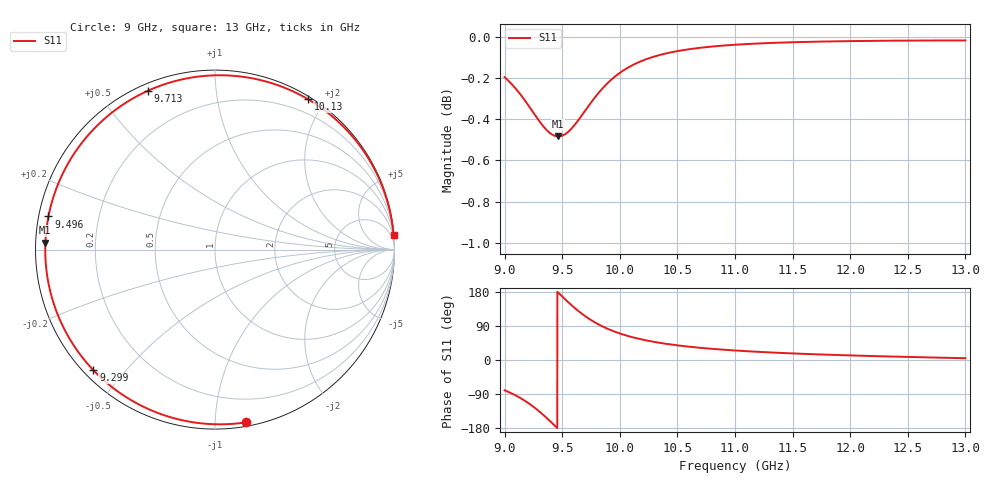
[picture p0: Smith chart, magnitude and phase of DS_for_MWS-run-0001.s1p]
! TOUCHSTONE file generated by CST DESIGN STUDIO
! Date and time: Tue Feb  4 16:01:33 2025
! Project name: C:\Work\MatlabApps\UnitCellOptimizationMatlab\CST\unitcell.cst
! Tree item: Tasks\Sweep1\SPara1\S-Parameters
! Header version: 2024
! Port assignment regex: !\s*Touchstone port\s*([0-9]+)\s*=\s*(CST MWS port|CST DES external port|CST DES block port)\s*(.+)\s* \(\"(.*)\"\)(\s*mode\s*([0-9]+))?.*
! Touchstone port assignment:
! Touchstone port 1 = CST DES external port 1 ("")
# GHz S MA R 50
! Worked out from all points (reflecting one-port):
!   4001 points, 9 GHz to 13 GHz, reference 50 ohm
!   lowest |S11| = -0.5 dB at 9.466 GHz (marker M1), VSWR 35.96, Z = 1.39 + j1.04 ohm
!   phase of S11 starts at -80 deg and turns -275 deg over the sweep
!   S11 on the Smith chart (normalised r, x): 9 GHz: 0.03, -1.19; 9.299 GHz: 0.03, -0.41; 9.496 GHz: 0.03, +0.10; 9.713 GHz: 0.03, +0.66; 10.13 GHz: 0.03, +1.79; 13 GHz: 1, +24
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9  0.9778 -79.9
9.072  0.9732 -89.8
9.168  0.9658 -106.0
9.236  0.9598 -120.1
9.299  0.9542 -135.2
9.343  0.9507 -146.8
9.389  0.9479 -159.7
9.428  0.9464 -171.1
9.466  0.9459 177.6
9.496  0.9462 168.7
9.5  0.9463 167.6
9.551  0.9482 152.8
9.609  0.9521 137.1
9.66  0.9562 124.6
9.713  0.9608 112.8
9.77  0.9656 101.7
9.833  0.9705 91.1
9.915  0.9758 79.7
10  0.9801 70.0
10.134  0.9851 58.3
10.299  0.9891 47.8
10.5  0.9921 38.7
10.722  0.9942 31.5
11  0.9957 25.1
11.5  0.9971 17.3
12  0.9977 12.1
12.5  0.998 8.1
13  0.9981 4.7
